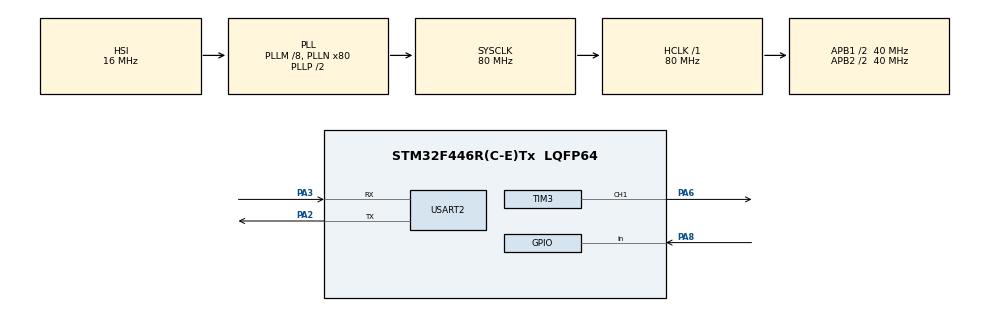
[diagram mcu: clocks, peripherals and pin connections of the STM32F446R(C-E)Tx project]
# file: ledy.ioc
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Mcu.Family=STM32F4
Mcu.Name=STM32F446R(C-E)Tx
Mcu.Package=LQFP64
NVIC.PriorityGroup=NVIC_PRIORITYGROUP_4
NVIC.TIM3_IRQn=true\:0\:0\:false\:false\:true\:true\:true\:true
PA2.Mode=Asynchronous
PA2.Signal=USART2_TX
PA3.Mode=Asynchronous
PA3.Signal=USART2_RX
PA6.GPIO_PuPd=GPIO_PULLUP
PA6.GPIO_Speed=GPIO_SPEED_FREQ_HIGH
PA6.Signal=S_TIM3_CH1
PA8.Signal=GPIO_Input
ProjectManager.HeapSize=0x200
ProjectManager.StackSize=0x400
ProjectManager.TargetToolchain=STM32CubeIDE
RCC.AHBFreq_Value=80000000
RCC.APB1CLKDivider=RCC_HCLK_DIV2
RCC.APB1Freq_Value=40000000
RCC.APB1TimFreq_Value=80000000
RCC.APB2CLKDivider=RCC_HCLK_DIV2
RCC.APB2Freq_Value=40000000
RCC.APB2TimFreq_Value=80000000
RCC.CortexFreq_Value=80000000
RCC.HCLKFreq_Value=80000000
RCC.PLLM=8
RCC.PLLN=80
RCC.SYSCLKFreq_VALUE=80000000
RCC.SYSCLKSource=RCC_SYSCLKSOURCE_PLLCLK
RCC.USBFreq_Value=80000000
RCC.VCOOutputFreq_Value=160000000
SH.S_TIM3_CH1.0=TIM3_CH1,PWM Generation1 CH1
TIM3.Channel-PWM\ Generation1\ CH1=TIM_CHANNEL_1
TIM3.Period=99
USART2.VirtualMode=VM_ASYNC
VP_TIM3_VS_ClockSourceINT.Mode=Internal
board=custom

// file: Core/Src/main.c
/* USER CODE BEGIN Header */
/**
  ******************************************************************************
  * @file           : main.c
  * @brief          : Main program body
  ******************************************************************************
  * @attention
  *
  * Copyright (c) 2024 STMicroelectronics.
  * All rights reserved.
  *
  * This software is licensed under terms that can be found in the LICENSE file
  * in the root directory of this software component.
  * If no LICENSE file comes with this software, it is provided AS-IS.
  *
  ******************************************************************************
  */
/* USER CODE END Header */
#include "main.h"

/* USER CODE BEGIN Includes */
#include "ws2812b.h"
#include <stdio.h>
/* USER CODE END Includes */

TIM_HandleTypeDef htim3;

UART_HandleTypeDef huart2;

void SystemClock_Config(void);
static void MX_GPIO_Init(void);
static void MX_USART2_UART_Init(void);
static void MX_TIM3_Init(void);

/* USER CODE BEGIN 0 */

void DMA1_Stream4_IRQHandler(void) {
	DMA1->HIFCR |= (1 << 5) | (1 << 4) | (1 << 0);
}

int __io_putchar(int ch) {
	if (ch == '\n') {
		uint8_t cr = '\r';
		HAL_UART_Transmit(&huart2, &cr, 1, HAL_MAX_DELAY);
	}
	HAL_UART_Transmit(&huart2, (uint8_t*)&ch, 1, HAL_MAX_DELAY);
	return 0;
}

void DMA_Init(void) {
	RCC->AHB1ENR |= RCC_AHB1ENR_DMA1EN;

	DMA1_Stream4->CR = 0;

	DMA1_Stream4->CR |= DMA_MEMORY_TO_PERIPH | DMA_CHANNEL_5 |
	DMA_PINC_DISABLE| DMA_MINC_ENABLE |
	DMA_PDATAALIGN_HALFWORD | DMA_MDATAALIGN_HALFWORD | DMA_PRIORITY_HIGH |
	DMA_IT_TC | DMA_IT_TE | DMA_IT_DME;

//	DMA1_Stream4->NDTR = RESET_LEN + 24 * LED_N + 1;
//	DMA1_Stream4->PAR = (uint32_t)&(TIM3->DMAR);
//	DMA1_Stream4->M0AR = (uint32_t)led_buffer;
	//DMA1_Stream4->CR |= (uint32_t)DMA_SxCR_EN;
}

void TIM_Init(void) {
	TIM3->ARR = 99;
	TIM3->PSC = 0;
	TIM3->CCR1 = 32;
	TIM3->CR1 &= ~ TIM_CR1_CKD;
	TIM3->CR1 |= TIM_CLOCKDIVISION_DIV1;
	TIM3->CR1 &= ~( TIM_CR1_DIR | TIM_CR1_CMS);
	TIM3->CR1 |= TIM_COUNTERMODE_UP;

	TIM3->CCMR1 &= ~TIM_CCMR1_OC1M;
	TIM3->CCMR1 &= ~TIM_CCMR1_CC1S;

	TIM3->CCMR1 |= TIM_OCMODE_PWM1;
	//TIM3->CCMR1 |= TIM_CCMR1_OC1PE; <----- preload's fault
	TIM3->CR1 |= TIM_CR1_ARPE;

	//TIM3->CR2 |= TIM_CCDMAREQUEST_UPDATE;
	TIM3->DIER |= TIM_DMA_CC1;

	TIM3->DCR &= ~TIM_DCR_DBA;
	TIM3->DCR &= ~TIM_DCR_DBL;
	TIM3->DCR = TIM_DMABase_CCR1 | TIM_DMABurstLength_1Transfer;
	/* Enable UEV by setting UG bit to Load buffer data into preload registers
	*/
	TIM3->EGR |= TIM_EGR_UG;
	/* wait until the RESET of UG bit*/
	while((TIM3->EGR & TIM_EGR_UG) == SET){}
	/* Enable UEV by setting UG bit to load data from preload to active
	registers */
	TIM3->EGR |= TIM_EGR_UG;
	/* Enable the TIM1 Main Ovoid ws2812b_set_color_gamma_corrected(uint32_t led_n, uint8_t red, uint8_t green, uint8_t blue)utput */
	TIM3->BDTR |= TIM_BDTR_MOE;
	/* Enable CC1 output*/
	TIM3->CCER |= TIM_CCER_CC1E;
	/* Enable the TIM Counter */
	TIM3->CR1 |= TIM_CR1_CEN;
}

/* USER CODE END 0 */

int main(void)
{

  /* MCU Configuration--------------------------------------------------------*/

  /* Reset of all peripherals, Initializes the Flash interface and the Systick. */
  HAL_Init();

  /* Configure the system clock */
  SystemClock_Config();

  /* Initialize all configured peripherals */
  MX_GPIO_Init();
  MX_USART2_UART_Init();
  MX_TIM3_Init();
  /* USER CODE BEGIN 2 */
  printf("Chuj\n");

  HAL_NVIC_SetPriority (DMA1_Stream4_IRQn, 3, 3);
  HAL_NVIC_EnableIRQ (DMA1_Stream4_IRQn);

  DMA_Init();
  TIM_Init();
  ws2812b_init();

  for (int i = 0; i < 8; i++) {
	  ws2812b_set_color(i, 255, 255, 255);
  }
  ws2812b_update();
  HAL_Delay(2000);

  for(int k = 0; k < 5; k++) {
		for (int i = 0; i < 8; i++) {
		  for (int j = 0; j < 8; j++) {
			  ws2812b_set_color(j, 0, 0, 0);
		  }
		  for (int j = 0; j <= i; j++) {
			  ws2812b_set_color(j, 0, 0, 255);
		  }
		  ws2812b_update();
		  HAL_Delay(100);
		}
  }

  for (int i = 0; i < 8; i++) {
	  ws2812b_set_color(i, 255, 255, 255);
  }
  ws2812b_update();

  /* USER CODE END 2 */

  /* Infinite loop */
  while (1)
  {

  }
}

void SystemClock_Config(void)
{
  RCC_OscInitTypeDef RCC_OscInitStruct = {0};
  RCC_ClkInitTypeDef RCC_ClkInitStruct = {0};

  /** Configure the main internal regulator output voltage
  */
  __HAL_RCC_PWR_CLK_ENABLE();
  __HAL_PWR_VOLTAGESCALING_CONFIG(PWR_REGULATOR_VOLTAGE_SCALE3);

  /** Initializes the RCC Oscillators according to the specified parameters
  * in the RCC_OscInitTypeDef structure.
  */
  RCC_OscInitStruct.OscillatorType = RCC_OSCILLATORTYPE_HSI;
  RCC_OscInitStruct.HSIState = RCC_HSI_ON;
  RCC_OscInitStruct.HSICalibrationValue = RCC_HSICALIBRATION_DEFAULT;
  RCC_OscInitStruct.PLL.PLLState = RCC_PLL_ON;
  RCC_OscInitStruct.PLL.PLLSource = RCC_PLLSOURCE_HSI;
  RCC_OscInitStruct.PLL.PLLM = 8;
  RCC_OscInitStruct.PLL.PLLN = 80;
  RCC_OscInitStruct.PLL.PLLP = RCC_PLLP_DIV2;
  RCC_OscInitStruct.PLL.PLLQ = 2;
  RCC_OscInitStruct.PLL.PLLR = 2;
  if (HAL_RCC_OscConfig(&RCC_OscInitStruct) != HAL_OK)
  {
    Error_Handler();
  }

  /** Initializes the CPU, AHB and APB buses clocks
  */
  RCC_ClkInitStruct.ClockType = RCC_CLOCKTYPE_HCLK|RCC_CLOCKTYPE_SYSCLK
                              |RCC_CLOCKTYPE_PCLK1|RCC_CLOCKTYPE_PCLK2;
  RCC_ClkInitStruct.SYSCLKSource = RCC_SYSCLKSOURCE_PLLCLK;
  RCC_ClkInitStruct.AHBCLKDivider = RCC_SYSCLK_DIV1;
  RCC_ClkInitStruct.APB1CLKDivider = RCC_HCLK_DIV2;
  RCC_ClkInitStruct.APB2CLKDivider = RCC_HCLK_DIV2;

  if (HAL_RCC_ClockConfig(&RCC_ClkInitStruct, FLASH_LATENCY_2) != HAL_OK)
  {
    Error_Handler();
  }
}

static void MX_TIM3_Init(void)
{

  TIM_ClockConfigTypeDef sClockSourceConfig = {0};
  TIM_MasterConfigTypeDef sMasterConfig = {0};
  TIM_OC_InitTypeDef sConfigOC = {0};

  htim3.Instance = TIM3;
  htim3.Init.Prescaler = 0;
  htim3.Init.CounterMode = TIM_COUNTERMODE_UP;
  htim3.Init.Period = 99;
  htim3.Init.ClockDivision = TIM_CLOCKDIVISION_DIV1;
  htim3.Init.AutoReloadPreload = TIM_AUTORELOAD_PRELOAD_DISABLE;
  if (HAL_TIM_Base_Init(&htim3) != HAL_OK)
  {
    Error_Handler();
  }
  sClockSourceConfig.ClockSource = TIM_CLOCKSOURCE_INTERNAL;
  if (HAL_TIM_ConfigClockSource(&htim3, &sClockSourceConfig) != HAL_OK)
  {
    Error_Handler();
  }
  if (HAL_TIM_PWM_Init(&htim3) != HAL_OK)
  {
    Error_Handler();
  }
  sMasterConfig.MasterOutputTrigger = TIM_TRGO_RESET;
  sMasterConfig.MasterSlaveMode = TIM_MASTERSLAVEMODE_DISABLE;
  if (HAL_TIMEx_MasterConfigSynchronization(&htim3, &sMasterConfig) != HAL_OK)
  {
    Error_Handler();
  }
  sConfigOC.OCMode = TIM_OCMODE_PWM1;
  sConfigOC.Pulse = 0;
  sConfigOC.OCPolarity = TIM_OCPOLARITY_HIGH;
  sConfigOC.OCFastMode = TIM_OCFAST_DISABLE;
  if (HAL_TIM_PWM_ConfigChannel(&htim3, &sConfigOC, TIM_CHANNEL_1) != HAL_OK)
  {
    Error_Handler();
  }
  HAL_TIM_MspPostInit(&htim3);

}

static void MX_USART2_UART_Init(void)
{

  huart2.Instance = USART2;
  huart2.Init.BaudRate = 115200;
  huart2.Init.WordLength = UART_WORDLENGTH_8B;
  huart2.Init.StopBits = UART_STOPBITS_1;
  huart2.Init.Parity = UART_PARITY_NONE;
  huart2.Init.Mode = UART_MODE_TX_RX;
  huart2.Init.HwFlowCtl = UART_HWCONTROL_NONE;
  huart2.Init.OverSampling = UART_OVERSAMPLING_16;
  if (HAL_UART_Init(&huart2) != HAL_OK)
  {
    Error_Handler();
  }

}

static void MX_GPIO_Init(void)
{
  GPIO_InitTypeDef GPIO_InitStruct = {0};

  /* GPIO Ports Clock Enable */
  __HAL_RCC_GPIOA_CLK_ENABLE();

  /*Configure GPIO pin : PA8 */
  GPIO_InitStruct.Pin = GPIO_PIN_8;
  GPIO_InitStruct.Mode = GPIO_MODE_INPUT;
  GPIO_InitStruct.Pull = GPIO_NOPULL;
  HAL_GPIO_Init(GPIOA, &GPIO_InitStruct);

}

void Error_Handler(void)
{
  __disable_irq();
  while (1)
  {
  }
}
